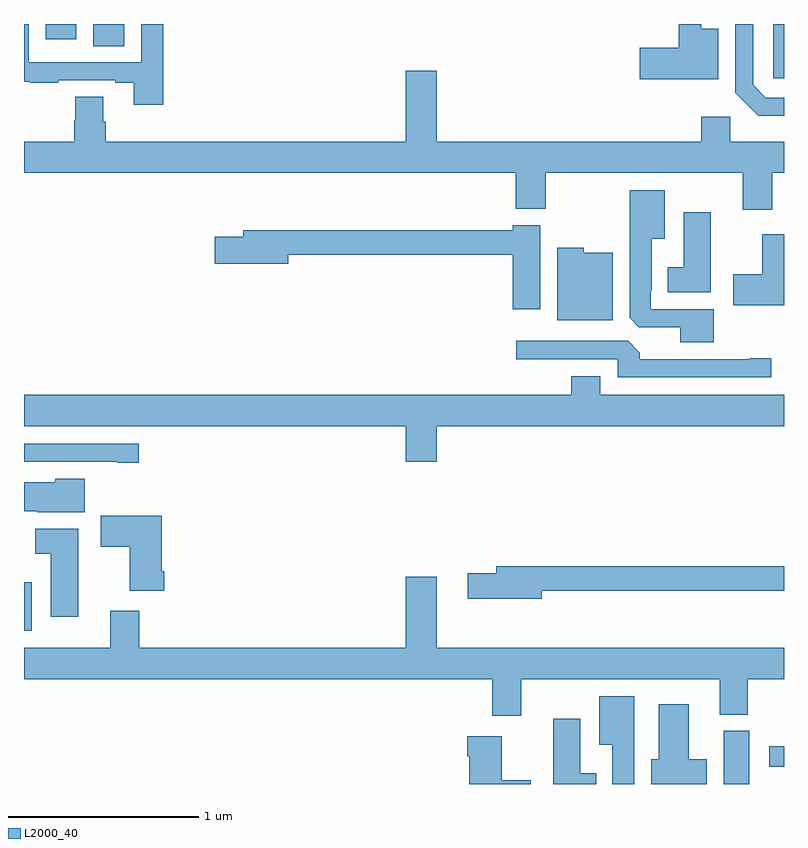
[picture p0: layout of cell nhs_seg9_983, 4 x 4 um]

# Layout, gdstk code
import gdstk
lib = gdstk.Library(unit=1e-6, precision=1e-09)
def R(c, l, rs):  # rectangles x0, y0, x1, y1
    for r in rs: c.add(gdstk.rectangle(r[:2], r[2:], *l))
def P(c, l, *ps):  # polygons
    for p in ps: c.add(gdstk.Polygon(p, *l))
L2000_40 = (2000, 40)

nhs_seg9_983 = lib.new_cell('nhs_seg9_983')
R(nhs_seg9_983, L2000_40, [(166.682,1230.5,166.816,1230.78), (166.923,1230.591,167,1230.7), (163,1231.307,163.042,1231.561), (166.944,1234.215,167,1234.5), (163.364,1234.384,163.528,1234.5), (163.115,1234.419,163.276,1234.5)])
P(nhs_seg9_983, L2000_40, [(166.654,1234.474),(166.565,1234.474),(166.565,1234.5),(166.447,1234.5),(166.447,1234.375),(166.242,1234.375),(166.242,1234.21),(166.654,1234.21)],
  [(167,1234.113),(166.905,1234.113),(166.839,1234.179),(166.839,1234.5),(166.743,1234.5),(166.743,1234.137),(166.864,1234.016),(167,1234.016)],
  [(163.733,1234.5),(163.617,1234.5),(163.617,1234.299),(163.026,1234.299),(163.026,1234.5),(163,1234.5),(163,1234.197),(163.033,1234.197),(163.033,1234.191),(163.181,1234.191),(163.181,1234.203),(163.481,1234.203),(163.481,1234.191),(163.577,1234.191),(163.577,1234.074),(163.733,1234.074)],
  [(166.937,1233.716),(167,1233.716),(167,1233.88),(166.716,1233.88),(166.716,1234.012),(166.565,1234.012),(166.565,1233.88),(165.172,1233.88),(165.172,1234.255),(165.008,1234.255),(165.008,1233.88),(163.43,1233.88),(163.43,1233.986),(163.417,1233.986),(163.417,1234.118),(163.27,1234.118),(163.27,1233.993),(163.265,1233.993),(163.265,1233.88),(163,1233.88),(163,1233.716),(165.587,1233.716),(165.587,1233.527),(165.747,1233.527),(165.747,1233.716),(166.784,1233.716),(166.784,1233.522),(166.937,1233.522)],
  [(166.63,1233),(166.299,1233),(166.299,1233.097),(166.303,1233.097),(166.303,1233.371),(166.372,1233.371),(166.372,1233.625),(166.187,1233.625),(166.187,1232.953),(166.236,1232.904),(166.454,1232.904),(166.454,1232.825),(166.63,1232.825)],
  [(166.615,1233.508),(166.472,1233.508),(166.472,1233.22),(166.388,1233.22),(166.388,1233.089),(166.615,1233.089)],
  [(165.718,1233.442),(165.572,1233.442),(165.572,1233.415),(164.153,1233.415),(164.153,1233.381),(164.004,1233.381),(164.004,1233.239),(164.392,1233.239),(164.392,1233.286),(165.572,1233.286),(165.572,1233),(165.718,1233)],
  [(167,1233.394),(166.886,1233.394),(166.886,1233.183),(166.734,1233.183),(166.734,1233.02),(167,1233.02)],
  [(166.099,1233.295),(165.945,1233.295),(165.945,1233.322),(165.806,1233.322),(165.806,1232.942),(166.099,1232.942)],
  [(166.933,1232.741),(166.82,1232.741),(166.82,1232.736),(166.241,1232.736),(166.241,1232.77),(166.179,1232.832),(165.591,1232.832),(165.591,1232.736),(166.125,1232.736),(166.125,1232.64),(166.933,1232.64)],
  [(165.172,1232.384),(167,1232.384),(167,1232.548),(166.033,1232.548),(166.033,1232.647),(165.881,1232.647),(165.881,1232.548),(163,1232.548),(163,1232.384),(165.008,1232.384),(165.008,1232.196),(165.172,1232.196)],
  [(163.603,1232.292),(163,1232.292),(163,1232.196),(163.49,1232.196),(163.49,1232.191),(163.603,1232.191)],
  [(163.321,1232.107),(163.164,1232.107),(163.164,1232.089),(163,1232.089),(163,1231.935),(163.069,1231.935),(163.069,1231.931),(163.321,1231.931)],
  [(163.739,1231.621),(163.726,1231.621),(163.726,1231.912),(163.404,1231.912),(163.404,1231.75),(163.556,1231.75),(163.556,1231.517),(163.739,1231.517)],
  [(163.285,1231.843),(163.058,1231.843),(163.058,1231.712),(163.142,1231.712),(163.142,1231.38),(163.285,1231.38)],
  [(165.724,1231.518),(167,1231.518),(167,1231.646),(165.485,1231.646),(165.485,1231.61),(165.336,1231.61),(165.336,1231.475),(165.724,1231.475)],
  [(165.616,1231.052),(166.661,1231.052),(166.661,1230.865),(166.809,1230.865),(166.809,1231.052),(167,1231.052),(167,1231.216),(165.172,1231.216),(165.172,1231.591),(165.008,1231.591),(165.008,1231.216),(163.607,1231.216),(163.607,1231.411),(163.454,1231.411),(163.454,1231.216),(163,1231.216),(163,1231.052),(165.464,1231.052),(165.464,1230.858),(165.616,1230.858)],
  [(166.213,1230.961),(166.028,1230.961),(166.028,1230.707),(166.097,1230.707),(166.097,1230.5),(166.213,1230.5)],
  [(166.594,1230.631),(166.498,1230.631),(166.498,1230.919),(166.34,1230.919),(166.34,1230.631),(166.301,1230.631),(166.301,1230.5),(166.594,1230.5)],
  [(166.012,1230.556),(165.928,1230.556),(165.928,1230.844),(165.785,1230.844),(165.785,1230.5),(166.012,1230.5)],
  [(165.667,1230.519),(165.514,1230.519),(165.514,1230.751),(165.332,1230.751),(165.332,1230.647),(165.344,1230.647),(165.344,1230.5),(165.667,1230.5)])

lib.write_gds('nhs_seg9_983.gds')
